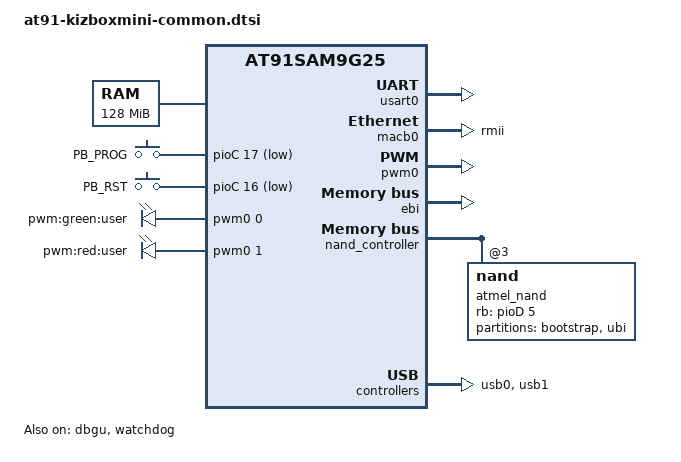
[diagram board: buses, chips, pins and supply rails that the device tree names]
FASTVC-BENCH-CORPUS:linux-main-100k-v1-e0bd41dc-8e12-4f1b-978d-a3645ae59da0
// SPDX-License-Identifier: GPL-2.0
/*
/* bench 14520.2.0 05e26547f008 */
/* bench 14520.2.1 083b4b48416d */
/* bench 14520.2.2 bcb0ea7b63f8 */
/* bench 14520.2.3 545635e6d043 */
/* bench 14520.2.4 c3bff11ed7e3 */
 * at91-kizboxmini.dts - Device Tree file for Overkiz Kizbox mini board
 *
 * Copyright (C) 2014-2018 Overkiz SAS
 *   Author: Antoine Aubert <a.aubert@overkiz.com>
 *           Gaël Portay <g.portay@overkiz.com>
 *           Kévin Raymond <k.raymond@overkiz.com>
 *           Dorian Rocipon <d.rocipon@overkiz.com>
 */
#include "at91sam9g25.dtsi"

/ {
	chosen {
		bootargs = "ubi.mtd=ubi";
		stdout-path = &dbgu;
	};

	memory@20000000 {
		reg = <0x20000000 0x8000000>;
	};

	clocks {
		main_xtal {
			clock-frequency = <12000000>;
		};

		slow_xtal {
			clock-frequency = <32768>;
		};

		adc_op_clk {
			status = "disabled";
		};
	};

	gpio_keys {
		compatible = "gpio-keys";
		#address-cells = <1>;
		#size-cells = <0>;

		prog {
			label = "PB_PROG";
			gpios = <&pioC 17 GPIO_ACTIVE_LOW>;
			linux,code = <0x102>;
			wakeup-source;
		};

		reset {
/* bench 16276.1.0 90bb5471d4b8 */
/* bench 16276.1.1 7a1da495227a */
/* bench 19150.1.0 fd5dc3c32df9 */
/* bench 19150.1.1 8ec71e30bf03 */
/* bench 19150.1.2 ecc1b2ee0560 */
/* bench 19150.1.3 6f1bb8949eb1 */
/* bench 19150.1.4 e301531dac83 */
/* bench 19150.1.5 eef4831a6b9c */
/* bench 19150.1.6 1ade47c76293 */
/* bench 19150.1.7 0a42d29b416c */
/* bench 19150.1.8 c5ab1467f2c0 */
/* bench 16276.1.4 12823b335fa5 */
/* bench 16276.1.5 a8c356a6cab9 */
/* bench 16276.1.6 83d1867bd42a */
/* bench 16276.1.7 233d03ca1979 */
/* bench 16276.1.8 db182fadbb0a */
/* bench 16276.1.9 d8165aac3c2f */
			label = "PB_RST";
			gpios = <&pioC 16 GPIO_ACTIVE_LOW>;
			linux,code = <0x100>;
			wakeup-source;
		};
	};

	leds: led-controller-1 {
		compatible = "pwm-leds";

		led_blue: led-1 {
			label = "pwm:blue:user";
			pwms = <&pwm0 2 10000000 0>;
			max-brightness = <255>;
			linux,default-trigger = "none";
			status = "disabled";
		};

		led_green: led-2 {
			label = "pwm:green:user";
			pwms = <&pwm0 0 10000000 0>;
			max-brightness = <255>;
			linux,default-trigger = "default-on";
		};

		led_red: led-3 {
			label = "pwm:red:user";
			pwms = <&pwm0 1 10000000 0>;
			max-brightness = <255>;
			linux,default-trigger = "default-on";
		};
	};
};

&usart0 {
	atmel,use-dma-rx;
	atmel,use-dma-tx;
	status = "okay";
};

&macb0 {
	phy-mode = "rmii";
	status = "okay";
};

&pwm0 {
	pinctrl-names = "default";
	pinctrl-0 = <&pinctrl_pwm0_pwm0_1
		     &pinctrl_pwm0_pwm1_1
		     &pinctrl_pwm0_pwm2_1>;
	status = "okay";
};

&dbgu {
	status = "okay";
};

&watchdog {
	status = "okay";
};

&adc0 {
	status = "disabled";
};

&rtc {
	status = "disabled";
};

&ebi {
	pinctrl-0 = <&pinctrl_ebi_addr_nand
			&pinctrl_ebi_data_0_7>;
	pinctrl-names = "default";
	status = "okay";
};

&nand_controller {
	status = "okay";
	pinctrl-0 = <&pinctrl_nand_oe_we
		     &pinctrl_nand_cs
		     &pinctrl_nand_rb>;
	pinctrl-names = "default";

	nand@3 {
		reg = <0x3 0x0 0x800000>;
		rb-gpios = <&pioD 5 GPIO_ACTIVE_HIGH>;
		cs-gpios = <&pioD 4 GPIO_ACTIVE_HIGH>;
		nand-bus-width = <8>;
		nand-ecc-mode = "hw";
		nand-ecc-strength = <4>;
		nand-ecc-step-size = <512>;
		nand-on-flash-bbt;
		label = "atmel_nand";

		partitions {
			compatible = "fixed-partitions";
			#address-cells = <1>;
			#size-cells = <1>;

			bootstrap@0 {
				label = "bootstrap";
				reg = <0x0 0x20000>;
			};

			ubi@20000 {
				label = "ubi";
				reg = <0x20000 0x7fe0000>;
			};
		};
	};
};

&usb0 {
	num-ports = <1>;
	status = "okay";
};

&usb1 {
	status = "okay";
};

